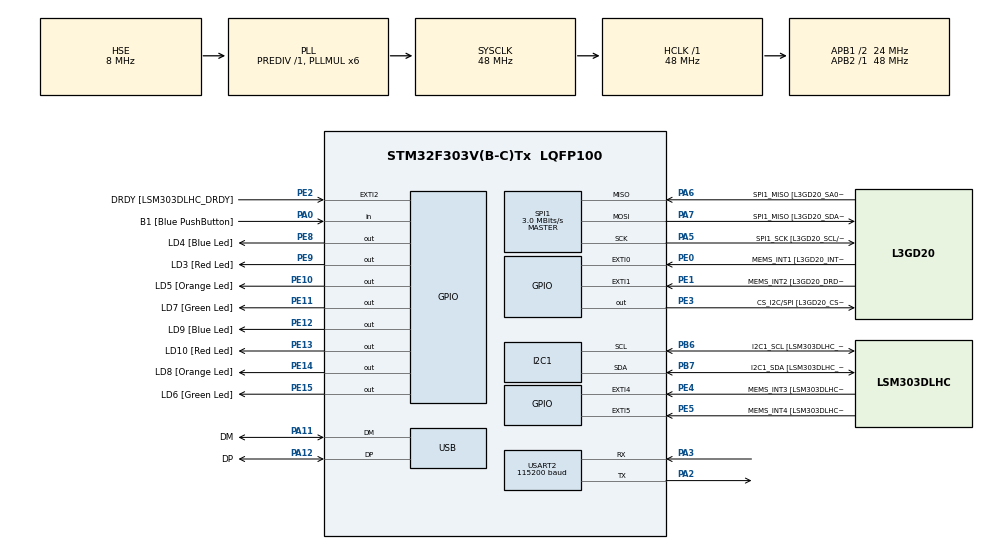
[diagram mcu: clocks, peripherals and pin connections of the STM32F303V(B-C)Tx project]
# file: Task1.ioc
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I2C1.Timing=0x00201D2B
I2C1.Timing-I2C=0x2000090E
Mcu.Family=STM32F3
Mcu.Name=STM32F303V(B-C)Tx
Mcu.Package=LQFP100
NVIC.PriorityGroup=NVIC_PRIORITYGROUP_0
PA0.GPIO_Label=B1 [Blue PushButton]
PA0.Signal=GPIO_Input
PA11.GPIO_Label=DM
PA11.Mode=Device
PA11.Signal=USB_DM
PA12.GPIO_Label=DP
PA12.Mode=Device
PA12.Signal=USB_DP
PA13.GPIO_Label=SWDIO
PA13.Mode=Serial_Wire
PA13.Signal=SYS_JTMS-SWDIO
PA14.GPIO_Label=SWCLK
PA14.Mode=Serial_Wire
PA14.Signal=SYS_JTCK-SWCLK
PA2.Mode=Asynchronous
PA2.Signal=USART2_TX
PA3.Mode=Asynchronous
PA3.Signal=USART2_RX
PA5.GPIO_Label=SPI1_SCK [L3GD20_SCL/SPC]
PA5.Mode=Full_Duplex_Master
PA5.Signal=SPI1_SCK
PA6.GPIO_Label=SPI1_MISO [L3GD20_SA0/SDO]
PA6.Mode=Full_Duplex_Master
PA6.Signal=SPI1_MISO
PA7.GPIO_Label=SPI1_MISO [L3GD20_SDA/SDI/SDO]
PA7.Mode=Full_Duplex_Master
PA7.Signal=SPI1_MOSI
PB3.GPIO_Label=SWO
PB3.Signal=SYS_JTDO-TRACESWO
PB6.GPIO_Label=I2C1_SCL [LSM303DLHC_SCL]
PB6.GPIO_Pu=GPIO_PULLUP
PB6.Mode=I2C
PB6.Signal=I2C1_SCL
PB7.GPIO_Label=I2C1_SDA [LSM303DLHC_SDA]
PB7.GPIO_Pu=GPIO_PULLUP
PB7.Mode=I2C
PB7.Signal=I2C1_SDA
PC14-OSC32_IN.GPIO_Label=OSC32_IN
PC14-OSC32_IN.Signal=RCC_OSC32_IN
PC15-OSC32_OUT.GPIO_Label=OSC32_OUT
PC15-OSC32_OUT.Signal=RCC_OSC32_OUT
PE0.GPIO_Label=MEMS_INT1 [L3GD20_INT1]
PE0.GPIO_ModeDefaultEXTI=GPIO_MODE_EVT_RISING
PE0.Signal=GPXTI0
PE1.GPIO_Label=MEMS_INT2 [L3GD20_DRDY/INT2]
PE1.GPIO_ModeDefaultEXTI=GPIO_MODE_EVT_RISING
PE1.Signal=GPXTI1
PE10.GPIO_Label=LD5 [Orange Led]
PE10.Signal=GPIO_Output
PE11.GPIO_Label=LD7 [Green Led]
PE11.Signal=GPIO_Output
PE12.GPIO_Label=LD9 [Blue Led]
PE12.Signal=GPIO_Output
PE13.GPIO_Label=LD10 [Red Led]
PE13.Signal=GPIO_Output
PE14.GPIO_Label=LD8 [Orange Led]
PE14.Signal=GPIO_Output
PE15.GPIO_Label=LD6 [Green Led]
PE15.Signal=GPIO_Output
PE2.GPIO_Label=DRDY [LSM303DLHC_DRDY]
PE2.GPIO_ModeDefaultEXTI=GPIO_MODE_EVT_RISING
PE2.Signal=GPXTI2
PE3.GPIO_Label=CS_I2C/SPI [L3GD20_CS_I2C/SPI]
PE3.Signal=GPIO_Output
PE4.GPIO_Label=MEMS_INT3 [LSM303DLHC_INT1]
PE4.GPIO_ModeDefaultEXTI=GPIO_MODE_EVT_RISING
PE4.Signal=GPXTI4
PE5.GPIO_Label=MEMS_INT4 [LSM303DLHC_INT2]
PE5.GPIO_ModeDefaultEXTI=GPIO_MODE_EVT_RISING
PE5.Signal=GPXTI5
PE8.GPIO_Label=LD4 [Blue Led]
PE8.Signal=GPIO_Output
PE9.GPIO_Label=LD3 [Red Led]
PE9.Signal=GPIO_Output
PF0-OSC_IN.GPIO_Label=OSC_IN
PF0-OSC_IN.Mode=HSE-External-Clock-Source
PF0-OSC_IN.Signal=RCC_OSC_IN
PF1-OSC_OUT.GPIO_Label=OSC_OUT
PF1-OSC_OUT.Signal=RCC_OSC_OUT
ProjectManager.HeapSize=0x200
ProjectManager.StackSize=0x400
ProjectManager.TargetToolchain=CMake
RCC.AHBFreq_Value=48000000
RCC.APB1CLKDivider=RCC_HCLK_DIV2
RCC.APB1Freq_Value=24000000
RCC.APB1TimFreq_Value=48000000
RCC.APB2Freq_Value=48000000
RCC.APB2TimFreq_Value=48000000
RCC.CortexFreq_Value=48000000
RCC.HCLKFreq_Value=48000000
RCC.HSE_VALUE=8000000
RCC.HSI_VALUE=8000000
RCC.LSE_VALUE=32768
RCC.PLLMUL=RCC_PLL_MUL6
RCC.SYSCLKFreq_VALUE=48000000
RCC.SYSCLKSourceVirtual=RCC_SYSCLKSOURCE_PLLCLK
RCC.USBFreq_Value=48000000
SPI1.BaudRatePrescaler=SPI_BAUDRATEPRESCALER_16
SPI1.BaudRatePrescaler-Full_Duplex_Master=SPI_BAUDRATEPRESCALER_2
SPI1.CLKPhase=SPI_PHASE_2EDGE
SPI1.CalculateBaudRate=3.0 MBits/s
SPI1.CalculateBaudRate-Full_Duplex_Master=24.0 MBits/s
SPI1.DataSize=SPI_DATASIZE_8BIT
SPI1.Direction=SPI_DIRECTION_2LINES
SPI1.Mode=SPI_MODE_MASTER
SPI1.Mode-Full_Duplex_Master=SPI_MODE_MASTER
SPI1.VirtualType=VM_MASTER
USART2.BaudRate=115200
USART2.VirtualMode-Asynchronous=VM_ASYNC
board=STM32F3DISCOVERY

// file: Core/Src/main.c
/* USER CODE BEGIN Header */
/**
  ******************************************************************************
  * @file           : main.c
  * @brief          : Lab 11 Task 1 - Complementary Filter Angle Estimation
  *                   STM32F3Discovery: L3GD20 (SPI1) + LSM303DLHC (I2C1)
  *                   UART output via USART2 (PA2=TX, PA3=RX)
  ******************************************************************************
  */
/* USER CODE END Header */
#include "main.h"
#include "stm32f3xx_hal.h"

/* USER CODE BEGIN Includes */
#include <string.h>
#include <stdio.h>
#include <math.h>
/* USER CODE END Includes */

/* USER CODE BEGIN PD */

// ---- LSM303DLHC Accelerometer (I2C1) ----
#define ACC_I2C_ADDR        0x32   // 7-bit 0x19 << 1
#define ACC_CTRL_REG1_A     0x20
#define ACC_CTRL_REG4_A     0x23
#define ACC_OUT_X_L_A       0x28

// ---- L3GD20 Gyroscope (SPI1) ----
#define GYRO_WHO_AM_I       0x0F
#define GYRO_CTRL_REG1      0x20
#define GYRO_CTRL_REG4      0x23
#define GYRO_OUT_X_L        0x28

// Sensitivities
#define GYRO_SENSITIVITY    8.75f    // mdps/digit at 250 dps => 0.00875 dps/digit
#define ACC_SENSITIVITY     1.0f     // mg/digit at ±2g

// Complementary filter
#define DT                  0.01f    // 10 ms loop delay
#define ALPHA               0.98f

// Radians to degrees
#define RAD2DEG             57.2957795f

/* USER CODE END PD */

I2C_HandleTypeDef hi2c1;

SPI_HandleTypeDef hspi1;

UART_HandleTypeDef huart2;

PCD_HandleTypeDef hpcd_USB_FS;

void SystemClock_Config(void);
static void MX_GPIO_Init(void);
static void MX_I2C1_Init(void);
static void MX_SPI1_Init(void);
static void MX_USART2_UART_Init(void);
static void MX_USB_PCD_Init(void);
/* USER CODE BEGIN PFP */
void UART_Print(const char *msg);
void Gyro_Init(void);
void Accel_Init(void);
void Gyro_ReadXYZ(float *gx, float *gy, float *gz);
void Accel_ReadXYZ(float *ax, float *ay, float *az);
uint8_t Gyro_ReadReg(uint8_t reg);
void Gyro_WriteReg(uint8_t reg, uint8_t val);
/* USER CODE END PFP */

/* USER CODE BEGIN 0 */

// ==================== UART ====================
void UART_Print(const char *msg) {
  HAL_UART_Transmit(&huart2, (uint8_t *)msg, strlen(msg), HAL_MAX_DELAY);
}

// ==================== L3GD20 Gyro (SPI) ====================
void Gyro_WriteReg(uint8_t reg, uint8_t val) {
  uint8_t txData[2] = { reg, val };  // bit7=0 for write
  HAL_GPIO_WritePin(CS_I2C_SPI_GPIO_Port, CS_I2C_SPI_Pin, GPIO_PIN_RESET);
  HAL_SPI_Transmit(&hspi1, txData, 2, HAL_MAX_DELAY);
  HAL_GPIO_WritePin(CS_I2C_SPI_GPIO_Port, CS_I2C_SPI_Pin, GPIO_PIN_SET);
}

uint8_t Gyro_ReadReg(uint8_t reg) {
  uint8_t txData = reg | 0x80;  // bit7=1 for read
  uint8_t rxData = 0;
  HAL_GPIO_WritePin(CS_I2C_SPI_GPIO_Port, CS_I2C_SPI_Pin, GPIO_PIN_RESET);
  HAL_SPI_Transmit(&hspi1, &txData, 1, HAL_MAX_DELAY);
  HAL_SPI_Receive(&hspi1, &rxData, 1, HAL_MAX_DELAY);
  HAL_GPIO_WritePin(CS_I2C_SPI_GPIO_Port, CS_I2C_SPI_Pin, GPIO_PIN_SET);
  return rxData;
}

void Gyro_Init(void) {
  // Deselect gyro first
  HAL_GPIO_WritePin(CS_I2C_SPI_GPIO_Port, CS_I2C_SPI_Pin, GPIO_PIN_SET);
  HAL_Delay(10);

  // CTRL_REG1: ODR=190Hz, BW=50Hz, enable X/Y/Z, power on
  // Bits: DR1=0 DR0=1 BW1=1 BW0=0 PD=1 Zen=1 Yen=1 Xen=1 = 0x6F
  Gyro_WriteReg(GYRO_CTRL_REG1, 0x6F);

  // CTRL_REG4: FS=250 dps (default), BDU=1
  Gyro_WriteReg(GYRO_CTRL_REG4, 0x80);
}

void Gyro_ReadXYZ(float *gx, float *gy, float *gz) {
  uint8_t txAddr = GYRO_OUT_X_L | 0x80 | 0x40;  // read + auto-increment
  uint8_t buf[6];

  HAL_GPIO_WritePin(CS_I2C_SPI_GPIO_Port, CS_I2C_SPI_Pin, GPIO_PIN_RESET);
  HAL_SPI_Transmit(&hspi1, &txAddr, 1, HAL_MAX_DELAY);
  HAL_SPI_Receive(&hspi1, buf, 6, HAL_MAX_DELAY);
  HAL_GPIO_WritePin(CS_I2C_SPI_GPIO_Port, CS_I2C_SPI_Pin, GPIO_PIN_SET);

  int16_t raw_x = (int16_t)(buf[1] << 8 | buf[0]);
  int16_t raw_y = (int16_t)(buf[3] << 8 | buf[2]);
  int16_t raw_z = (int16_t)(buf[5] << 8 | buf[4]);

  // Convert to degrees per second
  *gx = raw_x * GYRO_SENSITIVITY * 0.001f;
  *gy = raw_y * GYRO_SENSITIVITY * 0.001f;
  *gz = raw_z * GYRO_SENSITIVITY * 0.001f;
}

// ==================== LSM303DLHC Accel (I2C) ====================
void Accel_Init(void) {
  uint8_t data;

  // CTRL_REG1_A: ODR=100Hz, normal mode, X/Y/Z enabled
  // Bits: ODR=0101 LPen=0 Zen=1 Yen=1 Xen=1 = 0x57
  data = 0x57;
  HAL_I2C_Mem_Write(&hi2c1, ACC_I2C_ADDR, ACC_CTRL_REG1_A,
                    I2C_MEMADD_SIZE_8BIT, &data, 1, HAL_MAX_DELAY);

  // CTRL_REG4_A: FS=±2g, HR=1 (high resolution), BDU=1
  data = 0x88;
  HAL_I2C_Mem_Write(&hi2c1, ACC_I2C_ADDR, ACC_CTRL_REG4_A,
                    I2C_MEMADD_SIZE_8BIT, &data, 1, HAL_MAX_DELAY);
}

void Accel_ReadXYZ(float *ax, float *ay, float *az) {
  uint8_t buf[6];

  // Multi-byte read: set MSB of sub-address for auto-increment
  HAL_I2C_Mem_Read(&hi2c1, ACC_I2C_ADDR, ACC_OUT_X_L_A | 0x80,
                   I2C_MEMADD_SIZE_8BIT, buf, 6, HAL_MAX_DELAY);

  // LSM303DLHC in high-res mode: 12-bit data left-justified in 16 bits
  int16_t raw_x = (int16_t)(buf[1] << 8 | buf[0]) >> 4;
  int16_t raw_y = (int16_t)(buf[3] << 8 | buf[2]) >> 4;
  int16_t raw_z = (int16_t)(buf[5] << 8 | buf[4]) >> 4;

  // Convert to mg (±2g, 12-bit: 1 mg/LSB)
  *ax = raw_x * ACC_SENSITIVITY;
  *ay = raw_y * ACC_SENSITIVITY;
  *az = raw_z * ACC_SENSITIVITY;
}

/* USER CODE END 0 */

int main(void)
{

  /* MCU Configuration--------------------------------------------------------*/

  /* Reset of all peripherals, Initializes the Flash interface and the Systick. */
  HAL_Init();

  /* Configure the system clock */
  SystemClock_Config();

  /* Initialize all configured peripherals */
  MX_GPIO_Init();
  MX_I2C1_Init();
  MX_SPI1_Init();
  MX_USART2_UART_Init();
  MX_USB_PCD_Init();
  /* USER CODE BEGIN 2 */

  HAL_Delay(100);

  // Initialize sensors
  Gyro_Init();
  Accel_Init();

  HAL_Delay(100);

  // Verify gyro WHO_AM_I
  uint8_t who = Gyro_ReadReg(GYRO_WHO_AM_I);
  char msg[128];
  snprintf(msg, sizeof(msg), "Gyro WHO_AM_I: 0x%02X\r\n", who);
  UART_Print(msg);

  // Verify accel WHO_AM_I
  uint8_t acc_who = 0;
  HAL_I2C_Mem_Read(&hi2c1, ACC_I2C_ADDR, 0x0F,
                   I2C_MEMADD_SIZE_8BIT, &acc_who, 1, HAL_MAX_DELAY);
  snprintf(msg, sizeof(msg), "Accel WHO_AM_I: 0x%02X\r\n", acc_who);
  UART_Print(msg);

  HAL_Delay(500);

  float angle = 0.0f;
  float gx, gy, gz;
  float ax, ay, az;

  /* USER CODE END 2 */

  /* Infinite loop */
  while (1)
  {

    /* USER CODE BEGIN 3 */
    HAL_GPIO_TogglePin(GPIOE, LD3_Pin);
    HAL_Delay(500);
    // Read sensors
    Gyro_ReadXYZ(&gx, &gy, &gz);
    Accel_ReadXYZ(&ax, &ay, &az);

    // Compute accelerometer tilt angle (degrees)
    // Using Y and Z axes for pitch on the F3 Discovery board
    // Adjust axes based on your board orientation on the robot
    float acc_angle = atan2f(ax, az) * RAD2DEG;

    // Complementary filter
    // gyro_y provides angular rate around the pitch axis
    // Adjust axis (gx, gy, gz) to match your mounting orientation
    angle = ALPHA * (angle + gy * DT) + (1.0f - ALPHA) * acc_angle;

    // Print: acc_angle, gyro_rate, filtered_angle (CSV for plotting)
    // NOTE: Add linker flag -u _printf_float if float printf doesn't work
    snprintf(msg, sizeof(msg), "%.2f,%.2f,%.2f\r\n", acc_angle, gy, angle);
    UART_Print(msg);

    HAL_Delay((uint32_t)(DT * 1000));  // 10 ms
  }
  /* USER CODE END 3 */
}

void SystemClock_Config(void)
{
  RCC_OscInitTypeDef RCC_OscInitStruct = {0};
  RCC_ClkInitTypeDef RCC_ClkInitStruct = {0};
  RCC_PeriphCLKInitTypeDef PeriphClkInit = {0};

  /** Initializes the RCC Oscillators according to the specified parameters
  * in the RCC_OscInitTypeDef structure.
  */
  RCC_OscInitStruct.OscillatorType = RCC_OSCILLATORTYPE_HSI|RCC_OSCILLATORTYPE_HSE;
  RCC_OscInitStruct.HSEState = RCC_HSE_BYPASS;
  RCC_OscInitStruct.HSEPredivValue = RCC_HSE_PREDIV_DIV1;
  RCC_OscInitStruct.HSIState = RCC_HSI_ON;
  RCC_OscInitStruct.HSICalibrationValue = RCC_HSICALIBRATION_DEFAULT;
  RCC_OscInitStruct.PLL.PLLState = RCC_PLL_ON;
  RCC_OscInitStruct.PLL.PLLSource = RCC_PLLSOURCE_HSE;
  RCC_OscInitStruct.PLL.PLLMUL = RCC_PLL_MUL6;
  if (HAL_RCC_OscConfig(&RCC_OscInitStruct) != HAL_OK)
  {
    Error_Handler();
  }

  /** Initializes the CPU, AHB and APB buses clocks
  */
  RCC_ClkInitStruct.ClockType = RCC_CLOCKTYPE_HCLK|RCC_CLOCKTYPE_SYSCLK
                              |RCC_CLOCKTYPE_PCLK1|RCC_CLOCKTYPE_PCLK2;
  RCC_ClkInitStruct.SYSCLKSource = RCC_SYSCLKSOURCE_PLLCLK;
  RCC_ClkInitStruct.AHBCLKDivider = RCC_SYSCLK_DIV1;
  RCC_ClkInitStruct.APB1CLKDivider = RCC_HCLK_DIV2;
  RCC_ClkInitStruct.APB2CLKDivider = RCC_HCLK_DIV1;

  if (HAL_RCC_ClockConfig(&RCC_ClkInitStruct, FLASH_LATENCY_1) != HAL_OK)
  {
    Error_Handler();
  }
  PeriphClkInit.PeriphClockSelection = RCC_PERIPHCLK_USB|RCC_PERIPHCLK_USART2
                              |RCC_PERIPHCLK_I2C1;
  PeriphClkInit.Usart2ClockSelection = RCC_USART2CLKSOURCE_PCLK1;
  PeriphClkInit.I2c1ClockSelection = RCC_I2C1CLKSOURCE_HSI;
  PeriphClkInit.USBClockSelection = RCC_USBCLKSOURCE_PLL;
  if (HAL_RCCEx_PeriphCLKConfig(&PeriphClkInit) != HAL_OK)
  {
    Error_Handler();
  }
}

static void MX_I2C1_Init(void)
{

  hi2c1.Instance = I2C1;
  hi2c1.Init.Timing = 0x00201D2B;
  hi2c1.Init.OwnAddress1 = 0;
  hi2c1.Init.AddressingMode = I2C_ADDRESSINGMODE_7BIT;
  hi2c1.Init.DualAddressMode = I2C_DUALADDRESS_DISABLE;
  hi2c1.Init.OwnAddress2 = 0;
  hi2c1.Init.OwnAddress2Masks = I2C_OA2_NOMASK;
  hi2c1.Init.GeneralCallMode = I2C_GENERALCALL_DISABLE;
  hi2c1.Init.NoStretchMode = I2C_NOSTRETCH_DISABLE;
  if (HAL_I2C_Init(&hi2c1) != HAL_OK)
  {
    Error_Handler();
  }

  /** Configure Analogue filter
  */
  if (HAL_I2CEx_ConfigAnalogFilter(&hi2c1, I2C_ANALOGFILTER_ENABLE) != HAL_OK)
  {
    Error_Handler();
  }

  /** Configure Digital filter
  */
  if (HAL_I2CEx_ConfigDigitalFilter(&hi2c1, 0) != HAL_OK)
  {
    Error_Handler();
  }

}

static void MX_SPI1_Init(void)
{

  /* SPI1 parameter configuration*/
  hspi1.Instance = SPI1;
  hspi1.Init.Mode = SPI_MODE_MASTER;
  hspi1.Init.Direction = SPI_DIRECTION_2LINES;
  hspi1.Init.DataSize = SPI_DATASIZE_8BIT;
  hspi1.Init.CLKPolarity = SPI_POLARITY_LOW;
  hspi1.Init.CLKPhase = SPI_PHASE_2EDGE;
  hspi1.Init.NSS = SPI_NSS_SOFT;
  hspi1.Init.BaudRatePrescaler = SPI_BAUDRATEPRESCALER_16;
  hspi1.Init.FirstBit = SPI_FIRSTBIT_MSB;
  hspi1.Init.TIMode = SPI_TIMODE_DISABLE;
  hspi1.Init.CRCCalculation = SPI_CRCCALCULATION_DISABLE;
  hspi1.Init.CRCPolynomial = 7;
  hspi1.Init.CRCLength = SPI_CRC_LENGTH_DATASIZE;
  hspi1.Init.NSSPMode = SPI_NSS_PULSE_DISABLE;
  if (HAL_SPI_Init(&hspi1) != HAL_OK)
  {
    Error_Handler();
  }

}

static void MX_USART2_UART_Init(void)
{

  huart2.Instance = USART2;
  huart2.Init.BaudRate = 115200;
  huart2.Init.WordLength = UART_WORDLENGTH_8B;
  huart2.Init.StopBits = UART_STOPBITS_1;
  huart2.Init.Parity = UART_PARITY_NONE;
  huart2.Init.Mode = UART_MODE_TX_RX;
  huart2.Init.HwFlowCtl = UART_HWCONTROL_NONE;
  huart2.Init.OverSampling = UART_OVERSAMPLING_16;
  huart2.Init.OneBitSampling = UART_ONE_BIT_SAMPLE_DISABLE;
  huart2.AdvancedInit.AdvFeatureInit = UART_ADVFEATURE_NO_INIT;
  if (HAL_UART_Init(&huart2) != HAL_OK)
  {
    Error_Handler();
  }

}

static void MX_USB_PCD_Init(void)
{

  hpcd_USB_FS.Instance = USB;
  hpcd_USB_FS.Init.dev_endpoints = 8;
  hpcd_USB_FS.Init.speed = PCD_SPEED_FULL;
  hpcd_USB_FS.Init.phy_itface = PCD_PHY_EMBEDDED;
  hpcd_USB_FS.Init.low_power_enable = DISABLE;
  hpcd_USB_FS.Init.battery_charging_enable = DISABLE;
  if (HAL_PCD_Init(&hpcd_USB_FS) != HAL_OK)
  {
    Error_Handler();
  }

}

static void MX_GPIO_Init(void)
{
  GPIO_InitTypeDef GPIO_InitStruct = {0};

  /* GPIO Ports Clock Enable */
  __HAL_RCC_GPIOE_CLK_ENABLE();
  __HAL_RCC_GPIOC_CLK_ENABLE();
  __HAL_RCC_GPIOF_CLK_ENABLE();
  __HAL_RCC_GPIOA_CLK_ENABLE();
  __HAL_RCC_GPIOB_CLK_ENABLE();

  /*Configure GPIO pin Output Level */
  HAL_GPIO_WritePin(GPIOE, CS_I2C_SPI_Pin|LD4_Pin|LD3_Pin|LD5_Pin
                          |LD7_Pin|LD9_Pin|LD10_Pin|LD8_Pin
                          |LD6_Pin, GPIO_PIN_RESET);

  /*Configure GPIO pins : DRDY_Pin MEMS_INT3_Pin MEMS_INT4_Pin MEMS_INT1_Pin
                           MEMS_INT2_Pin */
  GPIO_InitStruct.Pin = DRDY_Pin|MEMS_INT3_Pin|MEMS_INT4_Pin|MEMS_INT1_Pin
                          |MEMS_INT2_Pin;
  GPIO_InitStruct.Mode = GPIO_MODE_EVT_RISING;
  GPIO_InitStruct.Pull = GPIO_NOPULL;
  HAL_GPIO_Init(GPIOE, &GPIO_InitStruct);

  /*Configure GPIO pins : CS_I2C_SPI_Pin LD4_Pin LD3_Pin LD5_Pin
                           LD7_Pin LD9_Pin LD10_Pin LD8_Pin
                           LD6_Pin */
  GPIO_InitStruct.Pin = CS_I2C_SPI_Pin|LD4_Pin|LD3_Pin|LD5_Pin
                          |LD7_Pin|LD9_Pin|LD10_Pin|LD8_Pin
                          |LD6_Pin;
  GPIO_InitStruct.Mode = GPIO_MODE_OUTPUT_PP;
  GPIO_InitStruct.Pull = GPIO_NOPULL;
  GPIO_InitStruct.Speed = GPIO_SPEED_FREQ_LOW;
  HAL_GPIO_Init(GPIOE, &GPIO_InitStruct);

  /*Configure GPIO pin : B1_Pin */
  GPIO_InitStruct.Pin = B1_Pin;
  GPIO_InitStruct.Mode = GPIO_MODE_INPUT;
  GPIO_InitStruct.Pull = GPIO_NOPULL;
  HAL_GPIO_Init(B1_GPIO_Port, &GPIO_InitStruct);

}

void Error_Handler(void)
{
  __disable_irq();
  while (1)
  {
  }
}
